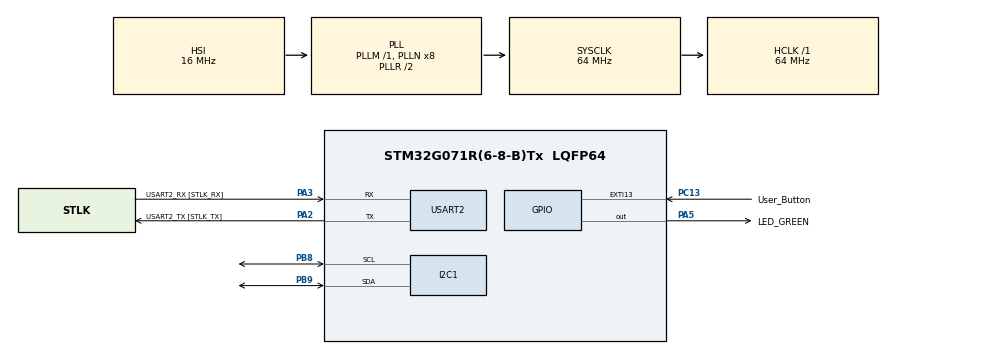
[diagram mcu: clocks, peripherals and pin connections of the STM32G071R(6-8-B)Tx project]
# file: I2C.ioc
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I2C1.I2C_Fall_Time=0
I2C1.I2C_Rise_Time=0
I2C1.Timing=0x10707DBC
Mcu.Family=STM32G0
Mcu.Name=STM32G071R(6-8-B)Tx
Mcu.Package=LQFP64
NVIC.EXTI4_15_IRQn=true\:0\:0\:false\:false\:true\:true\:true\:true
PA13.GPIO_Label=TMS
PA13.Mode=Serial_Wire
PA13.Signal=SYS_SWDIO
PA14-BOOT0.GPIO_Label=TCK
PA14-BOOT0.Mode=Serial_Wire
PA14-BOOT0.Signal=SYS_SWCLK
PA2.GPIO_Label=USART2_TX [STLK_TX]
PA2.GPIO_PuPd=GPIO_PULLUP
PA2.Mode=Asynchronous
PA2.Signal=USART2_TX
PA3.GPIO_Label=USART2_RX [STLK_RX]
PA3.GPIO_PuPd=GPIO_PULLUP
PA3.Mode=Asynchronous
PA3.Signal=USART2_RX
PA5.GPIO_Label=LED_GREEN
PA5.GPIO_Speed=GPIO_SPEED_FREQ_HIGH
PA5.Signal=GPIO_Output
PB8.GPIO_Pu=GPIO_PULLUP
PB8.GPIO_Speed=GPIO_SPEED_FREQ_VERY_HIGH
PB8.Mode=I2C
PB8.Signal=I2C1_SCL
PB9.GPIO_Pu=GPIO_PULLUP
PB9.GPIO_Speed=GPIO_SPEED_FREQ_VERY_HIGH
PB9.Mode=I2C
PB9.Signal=I2C1_SDA
PC13.GPIO_Label=User_Button
PC13.GPIO_ModeDefaultEXTI=GPIO_MODE_IT_FALLING
PC13.Signal=GPXTI13
PC14-OSC32_IN\ (PC14).Mode=LSE-External-Oscillator
PC14-OSC32_IN\ (PC14).Signal=RCC_OSC32_IN
PC15-OSC32_OUT\ (PC15).Mode=LSE-External-Oscillator
PC15-OSC32_OUT\ (PC15).Signal=RCC_OSC32_OUT
PF0-OSC_IN\ (PF0).GPIO_Label=MCO
PF0-OSC_IN\ (PF0).Mode=HSE-External-Clock-Source
PF0-OSC_IN\ (PF0).Signal=RCC_OSC_IN
ProjectManager.HeapSize=0x200
ProjectManager.StackSize=0x400
ProjectManager.TargetToolchain=STM32CubeIDE
RCC.ADCFreq_Value=64000000
RCC.AHBFreq_Value=64000000
RCC.CortexFreq_Value=64000000
RCC.EXTERNAL_CLOCK_VALUE=12288000
RCC.HCLKFreq_Value=64000000
RCC.HSE_VALUE=8000000
RCC.HSI_VALUE=16000000
RCC.SYSCLKFreq_VALUE=64000000
RCC.SYSCLKSource=RCC_SYSCLKSOURCE_PLLCLK
RCC.VCOOutputFreq_Value=128000000
USART2.VirtualMode-Asynchronous=VM_ASYNC
board=NUCLEO-G071RB

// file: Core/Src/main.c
/* USER CODE BEGIN Header */
/**
  ******************************************************************************
  * @file           : main.c
  * @brief          : Main program body
  ******************************************************************************
  * @attention
  *
  * Copyright (c) 2025 STMicroelectronics.
  * All rights reserved.
  *
  * This software is licensed under terms that can be found in the LICENSE file
  * in the root directory of this software component.
  * If no LICENSE file comes with this software, it is provided AS-IS.
  *
  ******************************************************************************
  */
/* USER CODE END Header */
#include "main.h"

/* USER CODE BEGIN Includes */
#include <stdio.h>
#include <math.h>

#ifndef M_PI
#define M_PI 3.14159265358979323846
#endif

/* USER CODE END Includes */

/* USER CODE BEGIN PTD */
#define MPU6050_ADDR 0x68

#define GREEN_LED_Pin         GPIO_PIN_5
#define GREEN_LED_GPIO_Port   GPIOA

int16_t Accel_X_RAW;
int16_t Accel_Y_RAW;
int16_t Accel_Z_RAW;

int16_t Gyro_X_RAW;
int16_t Gyro_Y_RAW;
int16_t Gyro_Z_RAW;

float Gx;
float Gy;
float Gz;

float Ax ; // g
float Ay ;
float Az ;

float pitch_acc;
float roll_acc;

//Store the values of past 1 sec using FIFO
int16_t dynamicbuffer_1s[100];
//After the button is pressed, memcopy(copybuffer,dynamicbuf) to use for Flash Mem
int16_t copybuffer_1s[100];
//Store the values of next 2 sec
int16_t nextbuffer_2s[200];

//Checks whether new input is received
uint8_t flag_input = 0;
//Checks whether the button is pressed
__IO uint8_t ubButtonPress = 0;

/* USER CODE END PTD */

I2C_HandleTypeDef hi2c1;

UART_HandleTypeDef huart2;

void SystemClock_Config(void);
static void MX_GPIO_Init(void);
static void MX_USART2_UART_Init(void);
static void MX_I2C1_Init(void);

int main(void)
{

  /* MCU Configuration--------------------------------------------------------*/

  /* Reset of all peripherals, Initializes the Flash interface and the Systick. */
  HAL_Init();

  /* Configure the system clock */
  SystemClock_Config();

  /* Initialize all configured peripherals */
  MX_GPIO_Init();
  MX_USART2_UART_Init();
  MX_I2C1_Init();
  /* USER CODE BEGIN 2 */
  for(int addr = 0 ; addr<128 ; addr++){
	  HAL_StatusTypeDef ret = HAL_I2C_IsDeviceReady(&hi2c1, addr <<1 , 1, 1000);
	  if(ret == HAL_OK)
	        {
		  	  printf("MPU is ready at I2C address: 0x%02X\n", addr);
	        }
	        else
	        {
	      	  printf("MPU is not ready. Check it.\n");
	        }
  }
  //Initalize MPU6050
  MPU6050_Init();

  /* USER CODE END 2 */

  /* Infinite loop */
  /* USER CODE BEGIN WHILE */
  while (1)
  {
	  MPU6050_Read_Accel();
	  //MPU6050_Read_Gyro();
	  HAL_Delay(250);

    /* USER CODE END WHILE */

  }
}

void SystemClock_Config(void)
{
  RCC_OscInitTypeDef RCC_OscInitStruct = {0};
  RCC_ClkInitTypeDef RCC_ClkInitStruct = {0};

  /** Configure the main internal regulator output voltage
  */
  HAL_PWREx_ControlVoltageScaling(PWR_REGULATOR_VOLTAGE_SCALE1);

  /** Initializes the RCC Oscillators according to the specified parameters
  * in the RCC_OscInitTypeDef structure.
  */
  RCC_OscInitStruct.OscillatorType = RCC_OSCILLATORTYPE_HSI;
  RCC_OscInitStruct.HSIState = RCC_HSI_ON;
  RCC_OscInitStruct.HSIDiv = RCC_HSI_DIV1;
  RCC_OscInitStruct.HSICalibrationValue = RCC_HSICALIBRATION_DEFAULT;
  RCC_OscInitStruct.PLL.PLLState = RCC_PLL_ON;
  RCC_OscInitStruct.PLL.PLLSource = RCC_PLLSOURCE_HSI;
  RCC_OscInitStruct.PLL.PLLM = RCC_PLLM_DIV1;
  RCC_OscInitStruct.PLL.PLLN = 8;
  RCC_OscInitStruct.PLL.PLLP = RCC_PLLP_DIV2;
  RCC_OscInitStruct.PLL.PLLQ = RCC_PLLQ_DIV2;
  RCC_OscInitStruct.PLL.PLLR = RCC_PLLR_DIV2;
  if (HAL_RCC_OscConfig(&RCC_OscInitStruct) != HAL_OK)
  {
    Error_Handler();
  }

  /** Initializes the CPU, AHB and APB buses clocks
  */
  RCC_ClkInitStruct.ClockType = RCC_CLOCKTYPE_HCLK|RCC_CLOCKTYPE_SYSCLK
                              |RCC_CLOCKTYPE_PCLK1;
  RCC_ClkInitStruct.SYSCLKSource = RCC_SYSCLKSOURCE_PLLCLK;
  RCC_ClkInitStruct.AHBCLKDivider = RCC_SYSCLK_DIV1;
  RCC_ClkInitStruct.APB1CLKDivider = RCC_HCLK_DIV1;

  if (HAL_RCC_ClockConfig(&RCC_ClkInitStruct, FLASH_LATENCY_2) != HAL_OK)
  {
    Error_Handler();
  }
}

static void MX_I2C1_Init(void)
{

  hi2c1.Instance = I2C1;
  hi2c1.Init.Timing = 0x10707DBC;
  hi2c1.Init.OwnAddress1 = 0;
  hi2c1.Init.AddressingMode = I2C_ADDRESSINGMODE_7BIT;
  hi2c1.Init.DualAddressMode = I2C_DUALADDRESS_DISABLE;
  hi2c1.Init.OwnAddress2 = 0;
  hi2c1.Init.OwnAddress2Masks = I2C_OA2_NOMASK;
  hi2c1.Init.GeneralCallMode = I2C_GENERALCALL_DISABLE;
  hi2c1.Init.NoStretchMode = I2C_NOSTRETCH_DISABLE;
  if (HAL_I2C_Init(&hi2c1) != HAL_OK)
  {
    Error_Handler();
  }

  /** Configure Analogue filter
  */
  if (HAL_I2CEx_ConfigAnalogFilter(&hi2c1, I2C_ANALOGFILTER_ENABLE) != HAL_OK)
  {
    Error_Handler();
  }

  /** Configure Digital filter
  */
  if (HAL_I2CEx_ConfigDigitalFilter(&hi2c1, 0) != HAL_OK)
  {
    Error_Handler();
  }

}

static void MX_USART2_UART_Init(void)
{

  huart2.Instance = USART2;
  huart2.Init.BaudRate = 115200;
  huart2.Init.WordLength = UART_WORDLENGTH_8B;
  huart2.Init.StopBits = UART_STOPBITS_1;
  huart2.Init.Parity = UART_PARITY_NONE;
  huart2.Init.Mode = UART_MODE_TX_RX;
  huart2.Init.HwFlowCtl = UART_HWCONTROL_NONE;
  huart2.Init.OverSampling = UART_OVERSAMPLING_16;
  huart2.Init.OneBitSampling = UART_ONE_BIT_SAMPLE_DISABLE;
  huart2.Init.ClockPrescaler = UART_PRESCALER_DIV1;
  huart2.AdvancedInit.AdvFeatureInit = UART_ADVFEATURE_NO_INIT;
  if (HAL_UART_Init(&huart2) != HAL_OK)
  {
    Error_Handler();
  }
  if (HAL_UARTEx_SetTxFifoThreshold(&huart2, UART_TXFIFO_THRESHOLD_1_8) != HAL_OK)
  {
    Error_Handler();
  }
  if (HAL_UARTEx_SetRxFifoThreshold(&huart2, UART_RXFIFO_THRESHOLD_1_8) != HAL_OK)
  {
    Error_Handler();
  }
  if (HAL_UARTEx_DisableFifoMode(&huart2) != HAL_OK)
  {
    Error_Handler();
  }

}

static void MX_GPIO_Init(void)
{
  GPIO_InitTypeDef GPIO_InitStruct = {0};

  /* GPIO Ports Clock Enable */
  __HAL_RCC_GPIOC_CLK_ENABLE();
  __HAL_RCC_GPIOF_CLK_ENABLE();
  __HAL_RCC_GPIOA_CLK_ENABLE();
  __HAL_RCC_GPIOB_CLK_ENABLE();

  /*Configure GPIO pin Output Level */
  HAL_GPIO_WritePin(LED_GREEN_GPIO_Port, LED_GREEN_Pin, GPIO_PIN_RESET);

  /*Configure GPIO pin : User_Button_Pin */
  GPIO_InitStruct.Pin = User_Button_Pin;
  GPIO_InitStruct.Mode = GPIO_MODE_IT_FALLING;
  GPIO_InitStruct.Pull = GPIO_NOPULL;
  HAL_GPIO_Init(User_Button_GPIO_Port, &GPIO_InitStruct);

  /*Configure GPIO pin : LED_GREEN_Pin */
  GPIO_InitStruct.Pin = LED_GREEN_Pin;
  GPIO_InitStruct.Mode = GPIO_MODE_OUTPUT_PP;
  GPIO_InitStruct.Pull = GPIO_NOPULL;
  GPIO_InitStruct.Speed = GPIO_SPEED_FREQ_HIGH;
  HAL_GPIO_Init(LED_GREEN_GPIO_Port, &GPIO_InitStruct);

  /* EXTI interrupt init*/
  HAL_NVIC_SetPriority(EXTI4_15_IRQn, 0, 0);
  HAL_NVIC_EnableIRQ(EXTI4_15_IRQn);

}

/* USER CODE BEGIN 4 */

void MPU6050_Init(void){

	uint8_t data =0x00;

	//Wake sensor up -> register 0x6B
	HAL_I2C_Mem_Write(&hi2c1, MPU6050_ADDR <<1, 0x6B, 1, &data, 1, 1000);

	//SET DATA RATE of 1Khz -> SMPLRT_DIV register
	data = 0x07;
	HAL_I2C_Mem_Write(&hi2c1, MPU6050_ADDR <<1, 0x19, 1, &data, 1, 1000);

	//GYRO_CONFIG <strong>±</strong> 250 ̐/s
	data = 0x00;
	HAL_I2C_Mem_Write(&hi2c1, MPU6050_ADDR <<1, 0x1B, 1, &data, 1, 1000);

	//ACCEL_CONFIG  <strong>±</strong> 2g
	data = 0x00;
	HAL_I2C_Mem_Write(&hi2c1, MPU6050_ADDR <<1, 0x1C, 1, &data, 1, 1000);

}

void MPU6050_Read_Accel(void){
	uint8_t Accel_Data[6];

	// Read 6 BYTES of data starting from ACCEL_XOUT_H (0x3B) register
	HAL_I2C_Mem_Read (&hi2c1, MPU6050_ADDR <<1 , 0x3B, 1, Accel_Data, 6, 1000);
	Accel_X_RAW = (int16_t)(Accel_Data[0] << 8 | Accel_Data[1]);
	Accel_Y_RAW = (int16_t)(Accel_Data[2] << 8 | Accel_Data[3]);
	Accel_Z_RAW = (int16_t)(Accel_Data[4] << 8 | Accel_Data[5]);

	printf("Ax: %d\tGx: %.2f\r\n", Accel_X_RAW, Gx);

	// Compute pitch and roll
	roll_acc  = atan2((float)Accel_Y_RAW, (float)Accel_Z_RAW) * 180.0 / M_PI;
	pitch_acc = atan2(-(float)Accel_X_RAW, sqrt(Accel_Y_RAW * Accel_Y_RAW + Accel_Z_RAW * Accel_Z_RAW)) * 180.0 / M_PI;

}

void MPU6050_Read_Gyro (void)
{
	uint8_t Gyro_Data[6];

	// Read 6 BYTES of data starting from GYRO_XOUT_H register
	 HAL_I2C_Mem_Read (&hi2c1, MPU6050_ADDR <<1, 0x43, 1, Gyro_Data, 6, 1000);

	Gyro_X_RAW = (int16_t)(Gyro_Data[0] << 8 | Gyro_Data[1]);
	Gyro_Y_RAW = (int16_t)(Gyro_Data[2] << 8 | Gyro_Data[3]);
	Gyro_Z_RAW = (int16_t)(Gyro_Data[4] << 8 | Gyro_Data[5]);

	Gx = (float)Gyro_X_RAW/131.0;
	Gy = (float)Gyro_Y_RAW/131.0;
	Gz = (float)Gyro_Z_RAW/131.0;
}

void UserButton_Callback(void){
	ubButtonPress=1;
	//Toggle the GREEN_LED
	HAL_GPIO_TogglePin(GREEN_LED_GPIO_Port, GREEN_LED_Pin);

}

/* USER CODE END 4 */

void Error_Handler(void)
{
  __disable_irq();
  while (1)
  {
  }
}
